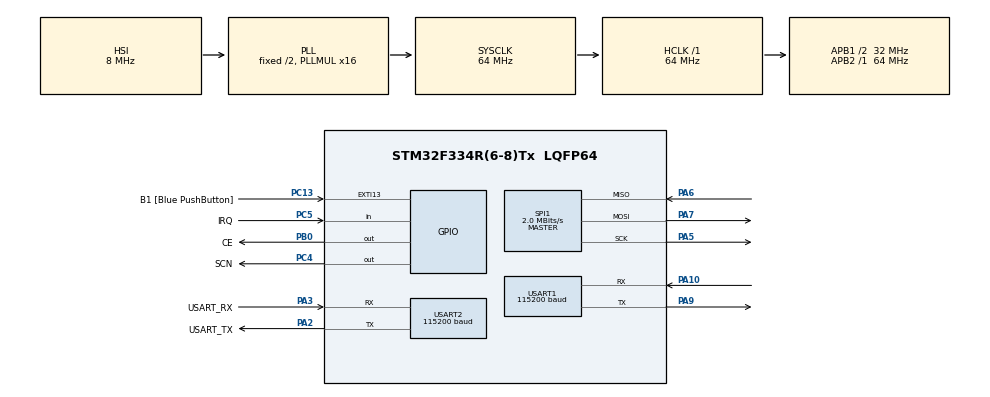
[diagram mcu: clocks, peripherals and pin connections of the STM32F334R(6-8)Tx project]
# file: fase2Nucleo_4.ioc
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Mcu.Family=STM32F3
Mcu.Name=STM32F334R(6-8)Tx
Mcu.Package=LQFP64
NVIC.PriorityGroup=NVIC_PRIORITYGROUP_0
NVIC.SPI1_IRQn=true\:0\:0\:false\:true\:true\:1
NVIC.USART1_IRQn=true\:0\:0\:false\:true\:true\:2
NVIC.USART2_IRQn=true\:0\:0\:false\:true\:true\:3
PA10.Mode=Asynchronous
PA10.Signal=USART1_RX
PA13.GPIO_Label=TMS
PA13.Signal=SYS_JTMS-SWDIO
PA14.GPIO_Label=TCK
PA14.Signal=SYS_JTCK-SWCLK
PA2.GPIO_Label=USART_TX
PA2.Mode=Asynchronous
PA2.Signal=USART2_TX
PA3.GPIO_Label=USART_RX
PA3.Mode=Asynchronous
PA3.Signal=USART2_RX
PA5.Mode=Full_Duplex_Master
PA5.Signal=SPI1_SCK
PA6.Mode=Full_Duplex_Master
PA6.Signal=SPI1_MISO
PA7.Mode=Full_Duplex_Master
PA7.Signal=SPI1_MOSI
PA9.Mode=Asynchronous
PA9.Signal=USART1_TX
PB0.GPIO_Label=CE
PB0.Signal=GPIO_Output
PB3.GPIO_Label=SWO
PB3.Signal=SYS_JTDO-TRACESWO
PC13.GPIO_Label=B1 [Blue PushButton]
PC13.GPIO_ModeDefaultEXTI=GPIO_MODE_EVT_RISING
PC13.Signal=GPXTI13
PC14\ /\ OSC32_IN.Signal=RCC_OSC32_IN
PC15\ /\ OSC32_OUT.GPIO_Label=RCC_OSC32_OUT
PC15\ /\ OSC32_OUT.Signal=RCC_OSC32_OUT
PC4.GPIO_Label=SCN
PC4.Signal=GPIO_Output
PC5.GPIO_Label=IRQ
PC5.Signal=GPIO_Input
PF0\ /\ OSC_IN.Signal=RCC_OSC_IN
PF1\ /\ OSC_OUT.Signal=RCC_OSC_OUT
ProjectManager.HeapSize=0x200
ProjectManager.StackSize=0x400
ProjectManager.TargetToolchain=EWARM
RCC.AHBFreq_Value=64000000
RCC.APB1CLKDivider=RCC_HCLK_DIV2
RCC.APB1Freq_Value=32000000
RCC.APB1TimFreq_Value=64000000
RCC.APB2Freq_Value=64000000
RCC.APB2TimFreq_Value=64000000
RCC.CortexFreq_Value=64000000
RCC.FLatency-AdvancedSettings=FLASH_LATENCY_2
RCC.HCLKFreq_Value=64000000
RCC.HSE_VALUE=8000000
RCC.HSI_VALUE=8000000
RCC.LSE_VALUE=32768
RCC.PLLMUL=RCC_PLL_MUL16
RCC.SYSCLKFreq_VALUE=64000000
RCC.SYSCLKSourceVirtual=RCC_SYSCLKSOURCE_PLLCLK
SPI1.BaudRatePrescaler=SPI_BAUDRATEPRESCALER_32
SPI1.CalculateBaudRate=2.0 MBits/s
SPI1.DataSize=SPI_DATASIZE_8BIT
SPI1.Mode=SPI_MODE_MASTER
USART1.BaudRate=115200
USART1.WordLength=UART_WORDLENGTH_8B
USART2.BaudRate=115200
USART2.WordLength=UART_WORDLENGTH_8B
board=NUCLEO-F334R8

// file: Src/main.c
/**
  ******************************************************************************
  * File Name          : main.c
  * Description        : Main program body
  ******************************************************************************
  *
  * COPYRIGHT(c) 2016 STMicroelectronics
  *
  * Redistribution and use in source and binary forms, with or without modification,
  * are permitted provided that the following conditions are met:
  *   1. Redistributions of source code must retain the above copyright notice,
  *      this list of conditions and the following disclaimer.
  *   2. Redistributions in binary form must reproduce the above copyright notice,
  *      this list of conditions and the following disclaimer in the documentation
  *      and/or other materials provided with the distribution.
  *   3. Neither the name of STMicroelectronics nor the names of its contributors
  *      may be used to endorse or promote products derived from this software
  *      without specific prior written permission.
  *
  * THIS SOFTWARE IS PROVIDED BY THE COPYRIGHT HOLDERS AND CONTRIBUTORS "AS IS"
  * AND ANY EXPRESS OR IMPLIED WARRANTIES, INCLUDING, BUT NOT LIMITED TO, THE
  * IMPLIED WARRANTIES OF MERCHANTABILITY AND FITNESS FOR A PARTICULAR PURPOSE ARE
  * DISCLAIMED. IN NO EVENT SHALL THE COPYRIGHT HOLDER OR CONTRIBUTORS BE LIABLE
  * FOR ANY DIRECT, INDIRECT, INCIDENTAL, SPECIAL, EXEMPLARY, OR CONSEQUENTIAL
  * DAMAGES (INCLUDING, BUT NOT LIMITED TO, PROCUREMENT OF SUBSTITUTE GOODS OR
  * SERVICES; LOSS OF USE, DATA, OR PROFITS; OR BUSINESS INTERRUPTION) HOWEVER
  * CAUSED AND ON ANY THEORY OF LIABILITY, WHETHER IN CONTRACT, STRICT LIABILITY,
  * OR TORT (INCLUDING NEGLIGENCE OR OTHERWISE) ARISING IN ANY WAY OUT OF THE USE
  * OF THIS SOFTWARE, EVEN IF ADVISED OF THE POSSIBILITY OF SUCH DAMAGE.
  *
  ******************************************************************************
  */
#include "stm32f3xx_hal.h"

/* USER CODE BEGIN Includes */

#include "nrf24l01_lib.h"

/* CSN Pin*/
#ifndef NRF24L01_CSN_PIN
#define NRF24L01_CSN_PORT			GPIOC
#define NRF24L01_CSN_PIN			GPIO_PIN_4
#endif

/* CE Pin */
#ifndef NRF24L01_CE_PIN
#define NRF24L01_CE_PORT			GPIOB
#define NRF24L01_CE_PIN				GPIO_PIN_0
#endif

/* Configurazioni dei Pin CE e CSN */
#define NRF24L01_CE_LOW				HAL_GPIO_WritePin(NRF24L01_CE_PORT, NRF24L01_CE_PIN, GPIO_PIN_RESET)
#define NRF24L01_CE_HIGH			HAL_GPIO_WritePin(NRF24L01_CE_PORT, NRF24L01_CE_PIN, GPIO_PIN_SET)
#define NRF24L01_CSN_LOW			HAL_GPIO_WritePin(NRF24L01_CSN_PORT, NRF24L01_CSN_PIN, GPIO_PIN_RESET)
#define NRF24L01_CSN_HIGH			HAL_GPIO_WritePin(NRF24L01_CSN_PORT, NRF24L01_CSN_PIN, GPIO_PIN_SET)
/* USER CODE END Includes */

SPI_HandleTypeDef hspi1;

UART_HandleTypeDef huart1;
UART_HandleTypeDef huart2;

/* USER CODE BEGIN PV */
/* Private variables ---------------------------------------------------------*/

/* Esprime lo stato della trasmissione delle variabili */

typedef enum _TM_NRF24L01_Transmit_Status_t {
	TM_NRF24L01_Transmit_Status_Lost = 0x00,   /*!< Message is lost, reached maximum number of retransmissions */
	TM_NRF24L01_Transmit_Status_Ok = 0x01,     /*!< Message sent successfully */
	TM_NRF24L01_Transmit_Status_Sending = 0xFF /*!< Message is still sending */
} TM_NRF24L01_Transmit_Status_t;

typedef union _TM_NRF24L01_IRQ_t {
	struct {
		uint8_t reserved0:4;
		uint8_t MaxRT:1;     /*!< Set to 1 if MAX retransmissions flag is set */
		uint8_t DataSent:1;  /*!< Set to 1 if last transmission is OK */
		uint8_t DataReady:1; /*!< Set to 1 if data are ready to be read */
		uint8_t reserved1:1;
	} F;
	uint8_t Status;          /*!< NRF status register value */
} TM_NRF24L01_IRQ_t;

/* Datarate di trasmissione possibili */

typedef enum _TM_NRF24L01_DataRate_t {
	TM_NRF24L01_DataRate_2M = 0x00, /*!< Data rate set to 2Mbps */
	TM_NRF24L01_DataRate_1M,        /*!< Data rate set to 1Mbps */
	TM_NRF24L01_DataRate_250k       /*!< Data rate set to 250kbps */
} TM_NRF24L01_DataRate_t;

/* Potenza del segnale del TRX */

typedef enum _TM_NRF24L01_OutputPower_t {
	TM_NRF24L01_OutputPower_M18dBm = 0x00,/*!< Output power set to -18dBm */
	TM_NRF24L01_OutputPower_M12dBm,       /*!< Output power set to -12dBm */
	TM_NRF24L01_OutputPower_M6dBm,        /*!< Output power set to -6dBm */
	TM_NRF24L01_OutputPower_0dBm          /*!< Output power set to 0dBm */
} TM_NRF24L01_OutputPower_t;

/* Struct delle caratteristiche del collegamento */

typedef struct {
	uint8_t PayloadSize;				//Payload size
	uint8_t Channel;					//Channel selected
	TM_NRF24L01_OutputPower_t OutPwr;	//Output power
	TM_NRF24L01_DataRate_t DataRate;	//Data rate
} TM_NRF24L01_t;

static TM_NRF24L01_t TM_NRF24L01_Struct;

/* Maschera del FLUSH usato in seguito a TX o RX */

/*
uint8_t flushTxMask=0xE1;
uint8_t flushRxMask=0xE2;
*/

/* Indirizzo della NUCLEO F3*/

uint8_t MyAddress[] = {
	0x00,
	0x00,
	0x00,
	0x00,
	0x01
};

/* Indirizzo della SENSORBOARD F0 */

uint8_t TxAddress[] = {
	0x00,
	0x00,
	0x00,
	0x00,
	0x00
};

/* Istanze delle struct dichiarate precedentemente */

TM_NRF24L01_Transmit_Status_t transmissionStatus;
TM_NRF24L01_IRQ_t NRF_IRQ;

/* Array dei dati da trasmettere */

uint8_t dataOut[6];
int usart1_flag = 0;             /* flag usato per individuare eventuali dati ricevuti su usart1 */
uint8_t rx_buff[200];           /*buffer di ricezione per la UART1*/

/* USER CODE END PV */

void SystemClock_Config(void);
static void MX_GPIO_Init(void);
static void MX_SPI1_Init(void);
static void MX_USART1_UART_Init(void);
static void MX_USART2_UART_Init(void);
void MX_NVIC_Init(void);

/* USER CODE BEGIN PFP */
/* Private function prototypes -----------------------------------------------*/

/* Funzioni di supporto alla comunicazione con TRX wireless */

void TM_NRF24L01_SetChannel(uint8_t);
uint8_t TM_NRF24L01_Init(uint8_t, uint8_t);
void TM_NRF24L01_SoftwareReset(void);
void TM_NRF24L01_WriteRegister(uint8_t reg, uint8_t valore);
void TM_NRF24L01_Clear_Interrupts(void);
void TM_NRF24L01_PowerUpRx(void);
void TM_NRF24L01_WriteRegisterMulti(uint8_t, uint8_t*, uint8_t);
void TM_NRF24L01_SetMyAddress(uint8_t*);
void TM_NRF24L01_SetTxAddress(uint8_t*);
void TM_NRF24L01_PowerUpTx(void);
void TM_NRF24L01_Transmit();
TM_NRF24L01_Transmit_Status_t TM_NRF24L01_GetTransmissionStatus(void);
uint8_t TM_NRF24L01_GetStatus(void);
uint8_t TM_NRF24L01_ReadRegister(uint8_t reg);

/* USER CODE END PFP */

int main(void)
{

  /* USER CODE BEGIN 1 */

  uint8_t printed = 0;

  /* USER CODE END 1 */

  /* MCU Configuration----------------------------------------------------------*/

  /* Reset of all peripherals, Initializes the Flash interface and the Systick. */
  HAL_Init();
  /* Configure the system clock */
  SystemClock_Config();

  /* Initialize all configured peripherals */
  MX_GPIO_Init();
  MX_SPI1_Init();
  MX_USART1_UART_Init();
  MX_USART2_UART_Init();

  /* Initialize interrupts */
  MX_NVIC_Init();

  /* USER CODE BEGIN 2 */

  HAL_UART_Receive_IT(&huart1, rx_buff, sizeof(rx_buff));

  /* Inizializzazione dei registri */
  TM_NRF24L01_Init(0x050, 0x06);

  /* Inizializzazione indirizzo cui trasmettere */
  TM_NRF24L01_SetTxAddress(TxAddress);

  HAL_Delay(5);

  /* USER CODE END 2 */

  /* Infinite loop */
  /* USER CODE BEGIN WHILE */
  while (1)
  {
    HAL_Delay(2000);
    //HAL_UART_Receive_IT(&huart1, rx_buff, sizeof(rx_buff));
    if(usart1_flag == 1){
      HAL_UART_Transmit(&huart2, rx_buff, sizeof(rx_buff), 100);
    }

    /* Dati da trasmettere */

    sprintf((char *)dataOut, "ITALIA");

    /* Transmit data, goes automatically to TX mode */
    TM_NRF24L01_Transmit(dataOut);
    /* Wait for data to be sent */
    do {
      /* Restituisce lo stato della trasmissione */
      transmissionStatus = TM_NRF24L01_GetTransmissionStatus();
    } while (transmissionStatus == TM_NRF24L01_Transmit_Status_Sending);

    /* Il TRX torna nello stato RX */
    TM_NRF24L01_PowerUpRx();

    /* lo stato della comunicazione и stato stampato sulla USART1 */
    printed = 0;

    /* Controlla se lo stato и cambiato */
    if (transmissionStatus != TM_NRF24L01_Transmit_Status_Sending && /*!< We are not sending anymore */
	!printed)                                                     /*!< We didn't print status to user */
	{
          /* Transmission was OK */
          if (transmissionStatus == TM_NRF24L01_Transmit_Status_Ok) {
            uint8_t service_txt[] = "Messaggio consegnato!\n";
            HAL_UART_Transmit(&huart2, service_txt, sizeof(service_txt), 100);
          }

          /* Message LOST */
          if (transmissionStatus == TM_NRF24L01_Transmit_Status_Lost) {
            uint8_t service_txt[] = "Messaggio perso!\n";
            HAL_UART_Transmit(&huart2, service_txt, sizeof(service_txt), 100);
          }

          /* Set flag */
          printed = 1;
	}

  /* USER CODE END WHILE */

  }

}

/** System Clock Configuration
*/
void SystemClock_Config(void)
{

  RCC_OscInitTypeDef RCC_OscInitStruct;
  RCC_ClkInitTypeDef RCC_ClkInitStruct;
  RCC_PeriphCLKInitTypeDef PeriphClkInit;

  RCC_OscInitStruct.OscillatorType = RCC_OSCILLATORTYPE_HSI;
  RCC_OscInitStruct.HSIState = RCC_HSI_ON;
  RCC_OscInitStruct.HSICalibrationValue = 16;
  RCC_OscInitStruct.PLL.PLLState = RCC_PLL_ON;
  RCC_OscInitStruct.PLL.PLLSource = RCC_PLLSOURCE_HSI;
  RCC_OscInitStruct.PLL.PLLMUL = RCC_PLL_MUL16;
  HAL_RCC_OscConfig(&RCC_OscInitStruct);

  RCC_ClkInitStruct.ClockType = RCC_CLOCKTYPE_HCLK|RCC_CLOCKTYPE_SYSCLK
                              |RCC_CLOCKTYPE_PCLK1|RCC_CLOCKTYPE_PCLK2;
  RCC_ClkInitStruct.SYSCLKSource = RCC_SYSCLKSOURCE_PLLCLK;
  RCC_ClkInitStruct.AHBCLKDivider = RCC_SYSCLK_DIV1;
  RCC_ClkInitStruct.APB1CLKDivider = RCC_HCLK_DIV2;
  RCC_ClkInitStruct.APB2CLKDivider = RCC_HCLK_DIV1;
  HAL_RCC_ClockConfig(&RCC_ClkInitStruct, FLASH_LATENCY_2);

  PeriphClkInit.PeriphClockSelection = RCC_PERIPHCLK_USART1;
  PeriphClkInit.Usart1ClockSelection = RCC_USART1CLKSOURCE_PCLK1;
  HAL_RCCEx_PeriphCLKConfig(&PeriphClkInit);

  HAL_SYSTICK_Config(HAL_RCC_GetHCLKFreq()/1000);

  HAL_SYSTICK_CLKSourceConfig(SYSTICK_CLKSOURCE_HCLK);

  /* SysTick_IRQn interrupt configuration */
  HAL_NVIC_SetPriority(SysTick_IRQn, 0, 0);
}

/** NVIC Configuration
*/
void MX_NVIC_Init(void)
{
  /* SPI1_IRQn interrupt configuration */
  HAL_NVIC_SetPriority(SPI1_IRQn, 0, 0);
  HAL_NVIC_EnableIRQ(SPI1_IRQn);
  /* USART1_IRQn interrupt configuration */
  HAL_NVIC_SetPriority(USART1_IRQn, 0, 0);
  HAL_NVIC_EnableIRQ(USART1_IRQn);
  /* USART2_IRQn interrupt configuration */
  HAL_NVIC_SetPriority(USART2_IRQn, 0, 0);
  HAL_NVIC_EnableIRQ(USART2_IRQn);
}

/* SPI1 init function */
void MX_SPI1_Init(void)
{

  hspi1.Instance = SPI1;
  hspi1.Init.Mode = SPI_MODE_MASTER;
  hspi1.Init.Direction = SPI_DIRECTION_2LINES;
  hspi1.Init.DataSize = SPI_DATASIZE_8BIT;
  hspi1.Init.CLKPolarity = SPI_POLARITY_LOW;
  hspi1.Init.CLKPhase = SPI_PHASE_1EDGE;
  hspi1.Init.NSS = SPI_NSS_SOFT;
  hspi1.Init.BaudRatePrescaler = SPI_BAUDRATEPRESCALER_32;
  hspi1.Init.FirstBit = SPI_FIRSTBIT_MSB;
  hspi1.Init.TIMode = SPI_TIMODE_DISABLE;
  hspi1.Init.CRCCalculation = SPI_CRCCALCULATION_DISABLE;
  hspi1.Init.CRCPolynomial = 7;
  hspi1.Init.CRCLength = SPI_CRC_LENGTH_DATASIZE;
  hspi1.Init.NSSPMode = SPI_NSS_PULSE_ENABLE;
  HAL_SPI_Init(&hspi1);

}

/* USART1 init function */
void MX_USART1_UART_Init(void)
{

  huart1.Instance = USART1;
  huart1.Init.BaudRate = 115200;
  huart1.Init.WordLength = UART_WORDLENGTH_8B;
  huart1.Init.StopBits = UART_STOPBITS_1;
  huart1.Init.Parity = UART_PARITY_NONE;
  huart1.Init.Mode = UART_MODE_TX_RX;
  huart1.Init.HwFlowCtl = UART_HWCONTROL_NONE;
  huart1.Init.OverSampling = UART_OVERSAMPLING_16;
  huart1.Init.OneBitSampling = UART_ONE_BIT_SAMPLE_DISABLE;
  huart1.AdvancedInit.AdvFeatureInit = UART_ADVFEATURE_NO_INIT;
  HAL_UART_Init(&huart1);

}

/* USART2 init function */
void MX_USART2_UART_Init(void)
{

  huart2.Instance = USART2;
  huart2.Init.BaudRate = 115200;
  huart2.Init.WordLength = UART_WORDLENGTH_8B;
  huart2.Init.StopBits = UART_STOPBITS_1;
  huart2.Init.Parity = UART_PARITY_NONE;
  huart2.Init.Mode = UART_MODE_TX_RX;
  huart2.Init.HwFlowCtl = UART_HWCONTROL_NONE;
  huart2.Init.OverSampling = UART_OVERSAMPLING_16;
  huart2.Init.OneBitSampling = UART_ONE_BIT_SAMPLE_DISABLE;
  huart2.AdvancedInit.AdvFeatureInit = UART_ADVFEATURE_NO_INIT;
  HAL_UART_Init(&huart2);

}

/** Configure pins as
        * Analog
        * Input
        * Output
        * EVENT_OUT
        * EXTI
*/
void MX_GPIO_Init(void)
{

  GPIO_InitTypeDef GPIO_InitStruct;

  /* GPIO Ports Clock Enable */
  __HAL_RCC_GPIOC_CLK_ENABLE();
  __HAL_RCC_GPIOF_CLK_ENABLE();
  __HAL_RCC_GPIOA_CLK_ENABLE();
  __HAL_RCC_GPIOB_CLK_ENABLE();

  /*Configure GPIO pin : B1_Pin */
  GPIO_InitStruct.Pin = B1_Pin;
  GPIO_InitStruct.Mode = GPIO_MODE_EVT_RISING;
  GPIO_InitStruct.Pull = GPIO_NOPULL;
  HAL_GPIO_Init(B1_GPIO_Port, &GPIO_InitStruct);

  /*Configure GPIO pin : SCN_Pin */
  GPIO_InitStruct.Pin = SCN_Pin;
  GPIO_InitStruct.Mode = GPIO_MODE_OUTPUT_PP;
  GPIO_InitStruct.Pull = GPIO_PULLUP;
  GPIO_InitStruct.Speed = GPIO_SPEED_FREQ_LOW;
  HAL_GPIO_Init(SCN_GPIO_Port, &GPIO_InitStruct);

  /*Configure GPIO pin : IRQ_Pin */
  GPIO_InitStruct.Pin = IRQ_Pin;
  GPIO_InitStruct.Mode = GPIO_MODE_INPUT;
  GPIO_InitStruct.Pull = GPIO_NOPULL;
  HAL_GPIO_Init(IRQ_GPIO_Port, &GPIO_InitStruct);

  /*Configure GPIO pin : CE_Pin */
  GPIO_InitStruct.Pin = CE_Pin;
  GPIO_InitStruct.Mode = GPIO_MODE_OUTPUT_PP;
  GPIO_InitStruct.Pull = GPIO_PULLUP;
  GPIO_InitStruct.Speed = GPIO_SPEED_FREQ_LOW;
  HAL_GPIO_Init(CE_GPIO_Port, &GPIO_InitStruct);

  /*Configure GPIO pin Output Level */
  HAL_GPIO_WritePin(SCN_GPIO_Port, SCN_Pin, GPIO_PIN_SET);

  /*Configure GPIO pin Output Level */
  HAL_GPIO_WritePin(CE_GPIO_Port, CE_Pin, GPIO_PIN_RESET);

}

/* USER CODE BEGIN 4 */

/*Rx_IT Callback*/

void HAL_UART_RxCpltCallback(UART_HandleTypeDef *huart){
  //HAL_UART_Transmit(&huart2, rx_buff, sizeof(rx_buff), 100);
  /*Flush della Uart*/
  usart1_flag = 1;
  __HAL_UART_FLUSH_DRREGISTER(huart);
  __HAL_UART_SEND_REQ(huart, UART_RXDATA_FLUSH_REQUEST);
  __HAL_UART_CLEAR_IT(huart, UART_CLEAR_OREF);

  HAL_UART_Receive_IT(&huart1, rx_buff, sizeof(rx_buff));
}

void TM_NRF24L01_WriteBit(uint8_t reg, uint8_t bit, uint8_t value) {
	uint8_t tmp;
	/* Read register */
	tmp = TM_NRF24L01_ReadRegister(reg);
	/* Make operation */
	if (value) {
		tmp |= 1 << bit;
	} else {
		tmp &= ~(1 << bit);
	}
	/* Write back */
	TM_NRF24L01_WriteRegister(reg, tmp);
}

uint8_t TM_NRF24L01_ReadBit(uint8_t reg, uint8_t bit) {
	uint8_t tmp;
	tmp = TM_NRF24L01_ReadRegister(reg);
	if (!NRF24L01_CHECK_BIT(tmp, bit)) {
		return 0;
	}
	return 1;
}

uint8_t TM_NRF24L01_ReadRegister(uint8_t reg) {
	reg = NRF24L01_READ_REGISTER_MASK(reg); //ha i riferimenti
        uint8_t nop = NRF24L01_NOP_MASK;
        uint8_t value;
	NRF24L01_CSN_LOW;
	//TM_SPI_Send(NRF24L01_SPI, NRF24L01_READ_REGISTER_MASK(reg));
        HAL_SPI_Transmit(&hspi1, &reg, 1, 10);
	//value = TM_SPI_Send(NRF24L01_SPI, NRF24L01_NOP_MASK);
         HAL_SPI_TransmitReceive(&hspi1, &nop, &value, 1 ,10);
	NRF24L01_CSN_HIGH;

	return value;
}

void TM_NRF24L01_WriteRegister(uint8_t reg, uint8_t valore){
    uint8_t comando =  (0x20|(0x1F & reg));
    //CSN low
    //HAL_GPIO_WritePin(GPIOC, GPIO_PIN_4, GPIO_PIN_RESET);
    NRF24L01_CSN_LOW;
    HAL_SPI_Transmit(&hspi1,&comando,1,10);
    HAL_SPI_Transmit(&hspi1,&valore,1,10);
    //CSN high
    //HAL_GPIO_WritePin(GPIOC, GPIO_PIN_4, GPIO_PIN_SET);
    NRF24L01_CSN_HIGH;

}

void TM_NRF24L01_WriteRegisterMulti(uint8_t reg, uint8_t *vett, uint8_t dim){
    uint8_t comando =  (0x20|(0x1F & reg));
    //CSN low
    //HAL_GPIO_WritePin(GPIOC, GPIO_PIN_4, GPIO_PIN_RESET);
    NRF24L01_CSN_LOW;
    HAL_SPI_Transmit(&hspi1, &comando ,1, 10);
    HAL_SPI_Transmit(&hspi1, vett, 5, 10);
    //CSN high
    //HAL_GPIO_WritePin(GPIOC, GPIO_PIN_4, GPIO_PIN_SET);
    NRF24L01_CSN_HIGH;
}

uint8_t TM_NRF24L01_GetStatus(void) {
	uint8_t status;
	uint8_t nop=NRF24L01_NOP_MASK;
	NRF24L01_CSN_LOW;
	/* First received byte is always status register */
	HAL_SPI_TransmitReceive(&hspi1,&nop,&status,1,10);
	/* Pull up chip select */
	NRF24L01_CSN_HIGH;

	return status;
}

TM_NRF24L01_Transmit_Status_t TM_NRF24L01_GetTransmissionStatus(void) {
	uint8_t status = TM_NRF24L01_GetStatus();
	if (NRF24L01_CHECK_BIT(status, NRF24L01_TX_DS)) {
		/* Successfully sent */
		return TM_NRF24L01_Transmit_Status_Ok;
	} else if (NRF24L01_CHECK_BIT(status, NRF24L01_MAX_RT)) {
		/* Message lost */
		return TM_NRF24L01_Transmit_Status_Lost;
	}

	/* Still sending */
	return TM_NRF24L01_Transmit_Status_Sending;
}

void TM_NRF24L01_SetMyAddress(uint8_t *adr) {
	NRF24L01_CE_LOW;
	TM_NRF24L01_WriteRegisterMulti(NRF24L01_REG_RX_ADDR_P1, adr, 5);
	NRF24L01_CE_HIGH;
}

void TM_NRF24L01_SetTxAddress(uint8_t *adr) {
	TM_NRF24L01_WriteRegisterMulti(NRF24L01_REG_RX_ADDR_P0, adr, 5);        //La pipeline P0 viene usata per la trasmissione dell'ACK (vedi pag 72 nrf24l01+.pdf
	TM_NRF24L01_WriteRegisterMulti(NRF24L01_REG_TX_ADDR, adr, 5);
}

void TM_NRF24L01_PowerUpRx(void) {
	/* Disable RX/TX mode */
	NRF24L01_CE_LOW;
	/* Clear RX buffer */
        NRF24L01_FLUSH_RX;
        /*
	NRF24L01_CSN_LOW;
        HAL_SPI_Transmit(&hspi1, &flushRxMask, 1, 10);
        NRF24L01_CSN_HIGH;
        */
	/* Clear interrupts */
	TM_NRF24L01_Clear_Interrupts();
	/* Setup RX mode */
	TM_NRF24L01_WriteRegister(NRF24L01_REG_CONFIG, NRF24L01_CONFIG | 1 << NRF24L01_PWR_UP | 1 << NRF24L01_PRIM_RX);
	/* Start listening */
	NRF24L01_CE_HIGH;
}

void TM_NRF24L01_Transmit(uint8_t * data) {
  /* Chip enable put to low, disable it */
  NRF24L01_CE_LOW;

  /* Go to power up tx mode */
  /*TM_NRF24L01_PowerUpTxPowerUpTx()*/

  TM_NRF24L01_Clear_Interrupts();
  TM_NRF24L01_WriteRegister(NRF24L01_REG_CONFIG, 0x0E);

  /* Clear TX FIFO from NRF24L01+ */

  NRF24L01_FLUSH_TX;
  /*
  NRF24L01_CSN_LOW;
  HAL_SPI_Transmit(&hspi1, &flushTxMask, 1, 10);
  NRF24L01_CSN_HIGH;
  */
  /* Send payload to nRF24L01+ */
  NRF24L01_CSN_LOW;

  /* Send write payload command */
  uint8_t payloadTxMask = NRF24L01_W_TX_PAYLOAD_MASK;
  HAL_SPI_Transmit(&hspi1, &payloadTxMask, 1, 100);

  /* Fill payload with data*/
  HAL_SPI_Transmit(&hspi1, data, TM_NRF24L01_Struct.PayloadSize, 200);

  /* Disable SPI */
  NRF24L01_CSN_HIGH;

  /* Send data! */
  NRF24L01_CE_HIGH;
}

void TM_NRF24L01_SetChannel(uint8_t channel) {
	if (channel <= 125 && channel != TM_NRF24L01_Struct.Channel) {
		/* Store new channel setting */
		TM_NRF24L01_Struct.Channel = channel;
		/* Write channel */
		TM_NRF24L01_WriteRegister(NRF24L01_REG_RF_CH, channel);
	}
}

uint8_t TM_NRF24L01_Init(uint8_t channel, uint8_t payload_size) {
	/* Max payload is 32bytes */
	if (payload_size > 32) {
		payload_size = 32;
	}

	/* Fill structure */
	TM_NRF24L01_Struct.Channel = !channel; /* Set channel to some different value for TM_NRF24L01_SetChannel() function */
	TM_NRF24L01_Struct.PayloadSize = payload_size;
	TM_NRF24L01_Struct.OutPwr = TM_NRF24L01_OutputPower_0dBm;
	TM_NRF24L01_Struct.DataRate = TM_NRF24L01_DataRate_1M;

        /*Abilita l'Auto-ACK per la Pipe 0*/
        TM_NRF24L01_WriteRegister(NRF24L01_REG_EN_AA,0x01);

        /* Abilita la pipe 0 per la ricezione */
        TM_NRF24L01_WriteRegister(NRF24L01_REG_EN_RXADDR, 0x01);

	/* Impostazione del canale */
	TM_NRF24L01_SetChannel(channel);

	/* Impostazioni del collegamento: 1Mbps, 0dBm, LNA OFF  */
        TM_NRF24L01_WriteRegister(NRF24L01_REG_RF_SETUP, 0x06);

        /* Impostazione della dimensione degli indirizzi dRX (5 byte) */
        TM_NRF24L01_WriteRegister(NRF24L01_REG_SETUP_AW, 0x03);

        /* Config register */
	TM_NRF24L01_WriteRegister(NRF24L01_REG_CONFIG, 0x3F);

	/* Set pipeline to max possible 32 bytes */
	TM_NRF24L01_WriteRegister(NRF24L01_REG_RX_PW_P0, TM_NRF24L01_Struct.PayloadSize); // Auto-ACK pipe
	TM_NRF24L01_WriteRegister(NRF24L01_REG_RX_PW_P1, TM_NRF24L01_Struct.PayloadSize); // Data payload pipe

	/* Abilita il payload dinamico */
        TM_NRF24L01_WriteRegister(NRF24L01_REG_FEATURE,0x05);
        TM_NRF24L01_WriteRegister(NRF24L01_REG_DYNPD,0x01); // Payload Dinamico

	/* Clear FIFOs */
	NRF24L01_FLUSH_TX;
        /*
        NRF24L01_CSN_LOW;
        HAL_SPI_Transmit(&hspi1, &flushTxMask, 1, 10);
        NRF24L01_CSN_HIGH;
        */

	NRF24L01_FLUSH_RX;
        /*
        NRF24L01_CSN_LOW;
        HAL_SPI_Transmit(&hspi1, &flushRxMask, 1, 10);
        NRF24L01_CSN_HIGH;
	*/

	/* Clear interrupts */
        TM_NRF24L01_Clear_Interrupts();

	/* Go to RX mode */
	TM_NRF24L01_PowerUpRx();

	/* Return OK */
	return 1;
}

void TM_NRF24L01_Clear_Interrupts(void) {
	TM_NRF24L01_WriteRegister(0x07, 0x70);
}

/* USER CODE END 4 */

/************************ (C) COPYRIGHT STMicroelectronics *****END OF FILE****/
